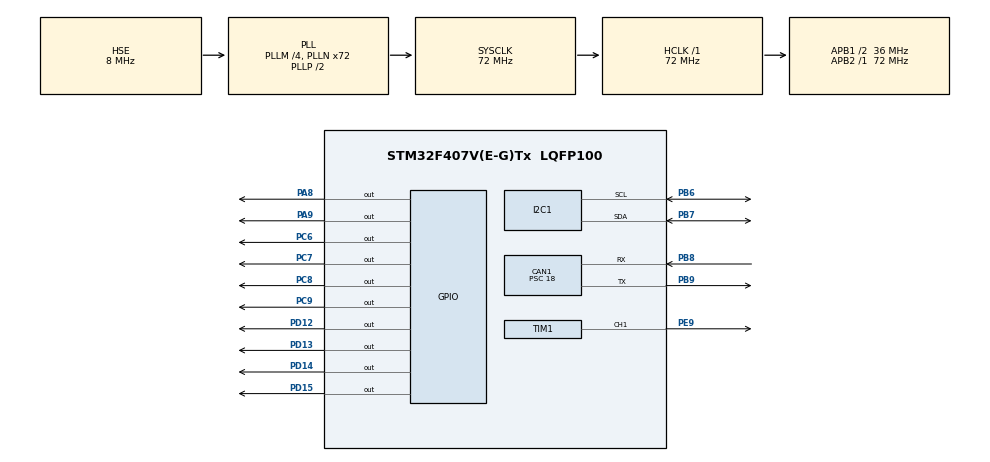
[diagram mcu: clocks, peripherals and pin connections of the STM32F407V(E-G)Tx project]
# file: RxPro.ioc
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CAN1.BS1=CAN_BS1_2TQ
CAN1.CalculateBaudRate=500000
CAN1.CalculateTimeBit=2000
CAN1.CalculateTimeQuantum=500.0
CAN1.Prescaler=18
Mcu.Family=STM32F4
Mcu.Name=STM32F407V(E-G)Tx
Mcu.Package=LQFP100
NVIC.CAN1_RX0_IRQn=true\:0\:0\:false\:false\:true\:true\:true\:true
NVIC.PriorityGroup=NVIC_PRIORITYGROUP_0
PA8.Signal=GPIO_Output
PA9.Signal=GPIO_Output
PB6.Mode=I2C
PB6.Signal=I2C1_SCL
PB7.Mode=I2C
PB7.Signal=I2C1_SDA
PB8.Mode=CAN_Activate
PB8.Signal=CAN1_RX
PB9.Mode=CAN_Activate
PB9.Signal=CAN1_TX
PC6.Signal=GPIO_Output
PC7.Signal=GPIO_Output
PC8.Signal=GPIO_Output
PC9.Signal=GPIO_Output
PD12.Signal=GPIO_Output
PD13.Signal=GPIO_Output
PD14.Signal=GPIO_Output
PD15.Signal=GPIO_Output
PE9.Signal=S_TIM1_CH1
PH0-OSC_IN.Mode=HSE-External-Oscillator
PH0-OSC_IN.Signal=RCC_OSC_IN
PH1-OSC_OUT.Mode=HSE-External-Oscillator
PH1-OSC_OUT.Signal=RCC_OSC_OUT
ProjectManager.HeapSize=0x200
ProjectManager.StackSize=0x400
ProjectManager.TargetToolchain=STM32CubeIDE
RCC.48MHZClocksFreq_Value=20571428.57142857
RCC.AHBFreq_Value=72000000
RCC.APB1CLKDivider=RCC_HCLK_DIV2
RCC.APB1Freq_Value=36000000
RCC.APB1TimFreq_Value=72000000
RCC.APB2Freq_Value=72000000
RCC.APB2TimFreq_Value=72000000
RCC.CortexFreq_Value=72000000
RCC.HCLKFreq_Value=72000000
RCC.HSE_VALUE=8000000
RCC.HSI_VALUE=16000000
RCC.LSE_VALUE=32768
RCC.PLLM=4
RCC.PLLN=72
RCC.PLLQ=7
RCC.PLLSourceVirtual=RCC_PLLSOURCE_HSE
RCC.SYSCLKFreq_VALUE=72000000
RCC.SYSCLKSource=RCC_SYSCLKSOURCE_PLLCLK
RCC.VCOOutputFreq_Value=144000000
SH.S_TIM1_CH1.0=TIM1_CH1,PWM Generation1 CH1
TIM1.Channel-PWM\ Generation1\ CH1=TIM_CHANNEL_1
TIM1.Prescaler=72-1
board=STM32F407G-DISC1

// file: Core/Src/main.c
/* USER CODE BEGIN Header */
/**
  ******************************************************************************
  * @file           : main.c
  * @brief          : Main program body
  ******************************************************************************
  * @attention
  *
  * Copyright (c) 2024 STMicroelectronics.
  * All rights reserved.
  *
  * This software is licensed under terms that can be found in the LICENSE file
  * in the root directory of this software component.
  * If no LICENSE file comes with this software, it is provided AS-IS.
  *
  ******************************************************************************
  */
/* USER CODE END Header */
#include "main.h"

/* USER CODE BEGIN Includes */
#include<stdio.h>
#include "i2c-lcd.h"
/* USER CODE END Includes */

CAN_HandleTypeDef hcan1;

I2C_HandleTypeDef hi2c1;

TIM_HandleTypeDef htim1;

void SystemClock_Config(void);
static void MX_GPIO_Init(void);
static void MX_CAN1_Init(void);
static void MX_I2C1_Init(void);
static void MX_TIM1_Init(void);

/* USER CODE BEGIN 0 */
CAN_RxHeaderTypeDef RxHeader;
uint8_t RxData[5];
char str[20];

void HAL_CAN_RxFifo0MsgPendingCallback(CAN_HandleTypeDef *hcan){

	HAL_GPIO_WritePin(GPIOD, GPIO_PIN_15, GPIO_PIN_SET); // blue
	HAL_CAN_GetRxMessage(&hcan1, CAN_RX_FIFO0, &RxHeader, RxData);
}
/* USER CODE END 0 */

int main(void)
{

  /* MCU Configuration--------------------------------------------------------*/

  /* Reset of all peripherals, Initializes the Flash interface and the Systick. */
  HAL_Init();

  /* Configure the system clock */
  SystemClock_Config();

  /* Initialize all configured peripherals */
  MX_GPIO_Init();
  MX_CAN1_Init();
  MX_I2C1_Init();
  MX_TIM1_Init();
  /* USER CODE BEGIN 2 */
  HAL_CAN_Start(&hcan1);
  HAL_CAN_ActivateNotification(&hcan1, CAN_IT_RX_FIFO0_MSG_PENDING);
  HAL_Delay(100);
  HAL_Delay(100);

  lcd_init();
  lcd_clear();
  //HAL_TIM_PWM_Start(&htim1, TIM_CHANNEL_1);
  HAL_GPIO_WritePin(GPIOC, GPIO_PIN_6, GPIO_PIN_RESET);   //M1
  HAL_GPIO_WritePin(GPIOC, GPIO_PIN_7, GPIO_PIN_RESET);   //M1
  HAL_GPIO_WritePin(GPIOC, GPIO_PIN_8, GPIO_PIN_RESET);  //M2
  HAL_GPIO_WritePin(GPIOC, GPIO_PIN_9, GPIO_PIN_RESET);  //M2
  HAL_GPIO_WritePin(GPIOA, GPIO_PIN_8, GPIO_PIN_RESET);  //LED
  HAL_GPIO_WritePin(GPIOA, GPIO_PIN_9, GPIO_PIN_RESET);  //Buzzer
  /* USER CODE END 2 */

  /* Infinite loop */
  /* USER CODE BEGIN WHILE */
  while (1)
  {
	  lcd_clear();
  	  /*sprintf(str, "Temp:%d",RxData[1]);
  	  lcd_send_cmd(0x80|0x00);
  	  lcd_send_string(str);*/

  	  sprintf(str, "Dist:%d",RxData[2]);
  	  lcd_send_cmd(0x80|0x40);
  	  lcd_send_string(str);

  	  if(RxData[2] < 10){
  		  HAL_GPIO_WritePin(GPIOC, GPIO_PIN_8, GPIO_PIN_RESET);
  		  HAL_GPIO_WritePin(GPIOC, GPIO_PIN_9, GPIO_PIN_RESET);
  		  HAL_GPIO_WritePin(GPIOC, GPIO_PIN_6, GPIO_PIN_RESET);
  		  HAL_GPIO_WritePin(GPIOC, GPIO_PIN_7, GPIO_PIN_RESET);
  		  HAL_GPIO_WritePin(GPIOA, GPIO_PIN_8, GPIO_PIN_SET);
  		  HAL_GPIO_WritePin(GPIOA, GPIO_PIN_9, GPIO_PIN_SET);
  	  	  sprintf(str, "ZONE 3");
  	  	  lcd_send_cmd(0x80|0x00);
  	  	  lcd_send_string(str);
  		  sprintf(str, "Dist:%d",RxData[2]);
  	  	  lcd_send_cmd(0x80|0x40);
  	  	  lcd_send_string(str);
  	  }

  	  if(RxData[2] > 10 && RxData[2] < 30){
  		  HAL_GPIO_WritePin(GPIOC, GPIO_PIN_6, GPIO_PIN_SET);
  		  HAL_GPIO_WritePin(GPIOC, GPIO_PIN_7, GPIO_PIN_RESET);
  		  HAL_GPIO_WritePin(GPIOC, GPIO_PIN_8, GPIO_PIN_SET);
  		  HAL_GPIO_WritePin(GPIOC, GPIO_PIN_9, GPIO_PIN_RESET);
  		  HAL_GPIO_WritePin(GPIOA, GPIO_PIN_8, GPIO_PIN_SET);
  		  HAL_GPIO_WritePin(GPIOA, GPIO_PIN_9, GPIO_PIN_RESET);
  	  	  sprintf(str, "ZONE 2");
  	  	  lcd_send_cmd(0x80|0x00);
  	  	  lcd_send_string(str);
  		  sprintf(str, "Dist:%d",RxData[2]);
  	  	  lcd_send_cmd(0x80|0x40);
  	  	  lcd_send_string(str);
  	  }

  	  if(RxData[2] > 30){
  		  HAL_GPIO_WritePin(GPIOC, GPIO_PIN_6, GPIO_PIN_SET);
  		  HAL_GPIO_WritePin(GPIOC, GPIO_PIN_7, GPIO_PIN_RESET);
  		  HAL_GPIO_WritePin(GPIOC, GPIO_PIN_8, GPIO_PIN_SET);
  		  HAL_GPIO_WritePin(GPIOC, GPIO_PIN_9, GPIO_PIN_RESET);
  		  HAL_GPIO_WritePin(GPIOA, GPIO_PIN_8, GPIO_PIN_RESET);
  		  HAL_GPIO_WritePin(GPIOA, GPIO_PIN_9, GPIO_PIN_RESET);
  	  	  sprintf(str, "ZONE 1");
  	  	  lcd_send_cmd(0x80|0x00);
  	  	  lcd_send_string(str);
  		  sprintf(str, "Dist:%d",RxData[2]);
  	  	  lcd_send_cmd(0x80|0x40);
  	  	  lcd_send_string(str);
  	  }

  		if(RxData[0] == 1){
  			HAL_GPIO_WritePin(GPIOD, GPIO_PIN_14, GPIO_PIN_SET); //
  		}
  		if(RxData[0] == 0){
  			HAL_GPIO_WritePin(GPIOD, GPIO_PIN_14, GPIO_PIN_RESET); //

  		}

    /* USER CODE END WHILE */

  }
}

void SystemClock_Config(void)
{
  RCC_OscInitTypeDef RCC_OscInitStruct = {0};
  RCC_ClkInitTypeDef RCC_ClkInitStruct = {0};

  /** Configure the main internal regulator output voltage
  */
  __HAL_RCC_PWR_CLK_ENABLE();
  __HAL_PWR_VOLTAGESCALING_CONFIG(PWR_REGULATOR_VOLTAGE_SCALE1);

  /** Initializes the RCC Oscillators according to the specified parameters
  * in the RCC_OscInitTypeDef structure.
  */
  RCC_OscInitStruct.OscillatorType = RCC_OSCILLATORTYPE_HSE;
  RCC_OscInitStruct.HSEState = RCC_HSE_ON;
  RCC_OscInitStruct.PLL.PLLState = RCC_PLL_ON;
  RCC_OscInitStruct.PLL.PLLSource = RCC_PLLSOURCE_HSE;
  RCC_OscInitStruct.PLL.PLLM = 4;
  RCC_OscInitStruct.PLL.PLLN = 72;
  RCC_OscInitStruct.PLL.PLLP = RCC_PLLP_DIV2;
  RCC_OscInitStruct.PLL.PLLQ = 7;
  if (HAL_RCC_OscConfig(&RCC_OscInitStruct) != HAL_OK)
  {
    Error_Handler();
  }

  /** Initializes the CPU, AHB and APB buses clocks
  */
  RCC_ClkInitStruct.ClockType = RCC_CLOCKTYPE_HCLK|RCC_CLOCKTYPE_SYSCLK
                              |RCC_CLOCKTYPE_PCLK1|RCC_CLOCKTYPE_PCLK2;
  RCC_ClkInitStruct.SYSCLKSource = RCC_SYSCLKSOURCE_PLLCLK;
  RCC_ClkInitStruct.AHBCLKDivider = RCC_SYSCLK_DIV1;
  RCC_ClkInitStruct.APB1CLKDivider = RCC_HCLK_DIV2;
  RCC_ClkInitStruct.APB2CLKDivider = RCC_HCLK_DIV1;

  if (HAL_RCC_ClockConfig(&RCC_ClkInitStruct, FLASH_LATENCY_2) != HAL_OK)
  {
    Error_Handler();
  }
}

static void MX_CAN1_Init(void)
{

  hcan1.Instance = CAN1;
  hcan1.Init.Prescaler = 18;
  hcan1.Init.Mode = CAN_MODE_NORMAL;
  hcan1.Init.SyncJumpWidth = CAN_SJW_1TQ;
  hcan1.Init.TimeSeg1 = CAN_BS1_2TQ;
  hcan1.Init.TimeSeg2 = CAN_BS2_1TQ;
  hcan1.Init.TimeTriggeredMode = DISABLE;
  hcan1.Init.AutoBusOff = DISABLE;
  hcan1.Init.AutoWakeUp = DISABLE;
  hcan1.Init.AutoRetransmission = DISABLE;
  hcan1.Init.ReceiveFifoLocked = DISABLE;
  hcan1.Init.TransmitFifoPriority = DISABLE;
  if (HAL_CAN_Init(&hcan1) != HAL_OK)
  {
    Error_Handler();
  }
  /* USER CODE BEGIN CAN1_Init 2 */
  CAN_FilterTypeDef canFilterConfig;
  canFilterConfig.FilterActivation=CAN_FILTER_ENABLE;
  canFilterConfig.SlaveStartFilterBank=14;
  canFilterConfig.FilterBank=2;
  canFilterConfig.FilterFIFOAssignment=CAN_RX_FIFO0;
  canFilterConfig.FilterScale=CAN_FILTERSCALE_32BIT;
  canFilterConfig.FilterMode=CAN_FILTERMODE_IDMASK;
  canFilterConfig.FilterMaskIdLow=0x0000;
  canFilterConfig.FilterMaskIdHigh=0xFF00;
  canFilterConfig.FilterIdLow=0x0000;
  canFilterConfig.FilterIdHigh=0x1500;
  HAL_CAN_ConfigFilter(&hcan1, &canFilterConfig);
  /* USER CODE END CAN1_Init 2 */

}

static void MX_I2C1_Init(void)
{

  hi2c1.Instance = I2C1;
  hi2c1.Init.ClockSpeed = 100000;
  hi2c1.Init.DutyCycle = I2C_DUTYCYCLE_2;
  hi2c1.Init.OwnAddress1 = 0;
  hi2c1.Init.AddressingMode = I2C_ADDRESSINGMODE_7BIT;
  hi2c1.Init.DualAddressMode = I2C_DUALADDRESS_DISABLE;
  hi2c1.Init.OwnAddress2 = 0;
  hi2c1.Init.GeneralCallMode = I2C_GENERALCALL_DISABLE;
  hi2c1.Init.NoStretchMode = I2C_NOSTRETCH_DISABLE;
  if (HAL_I2C_Init(&hi2c1) != HAL_OK)
  {
    Error_Handler();
  }

}

static void MX_TIM1_Init(void)
{

  TIM_MasterConfigTypeDef sMasterConfig = {0};
  TIM_OC_InitTypeDef sConfigOC = {0};
  TIM_BreakDeadTimeConfigTypeDef sBreakDeadTimeConfig = {0};

  htim1.Instance = TIM1;
  htim1.Init.Prescaler = 72-1;
  htim1.Init.CounterMode = TIM_COUNTERMODE_UP;
  htim1.Init.Period = 65535;
  htim1.Init.ClockDivision = TIM_CLOCKDIVISION_DIV1;
  htim1.Init.RepetitionCounter = 0;
  htim1.Init.AutoReloadPreload = TIM_AUTORELOAD_PRELOAD_DISABLE;
  if (HAL_TIM_PWM_Init(&htim1) != HAL_OK)
  {
    Error_Handler();
  }
  sMasterConfig.MasterOutputTrigger = TIM_TRGO_RESET;
  sMasterConfig.MasterSlaveMode = TIM_MASTERSLAVEMODE_DISABLE;
  if (HAL_TIMEx_MasterConfigSynchronization(&htim1, &sMasterConfig) != HAL_OK)
  {
    Error_Handler();
  }
  sConfigOC.OCMode = TIM_OCMODE_PWM1;
  sConfigOC.Pulse = 0;
  sConfigOC.OCPolarity = TIM_OCPOLARITY_HIGH;
  sConfigOC.OCNPolarity = TIM_OCNPOLARITY_HIGH;
  sConfigOC.OCFastMode = TIM_OCFAST_DISABLE;
  sConfigOC.OCIdleState = TIM_OCIDLESTATE_RESET;
  sConfigOC.OCNIdleState = TIM_OCNIDLESTATE_RESET;
  if (HAL_TIM_PWM_ConfigChannel(&htim1, &sConfigOC, TIM_CHANNEL_1) != HAL_OK)
  {
    Error_Handler();
  }
  sBreakDeadTimeConfig.OffStateRunMode = TIM_OSSR_DISABLE;
  sBreakDeadTimeConfig.OffStateIDLEMode = TIM_OSSI_DISABLE;
  sBreakDeadTimeConfig.LockLevel = TIM_LOCKLEVEL_OFF;
  sBreakDeadTimeConfig.DeadTime = 0;
  sBreakDeadTimeConfig.BreakState = TIM_BREAK_DISABLE;
  sBreakDeadTimeConfig.BreakPolarity = TIM_BREAKPOLARITY_HIGH;
  sBreakDeadTimeConfig.AutomaticOutput = TIM_AUTOMATICOUTPUT_DISABLE;
  if (HAL_TIMEx_ConfigBreakDeadTime(&htim1, &sBreakDeadTimeConfig) != HAL_OK)
  {
    Error_Handler();
  }
  HAL_TIM_MspPostInit(&htim1);

}

static void MX_GPIO_Init(void)
{
  GPIO_InitTypeDef GPIO_InitStruct = {0};

  /* GPIO Ports Clock Enable */
  __HAL_RCC_GPIOH_CLK_ENABLE();
  __HAL_RCC_GPIOE_CLK_ENABLE();
  __HAL_RCC_GPIOD_CLK_ENABLE();
  __HAL_RCC_GPIOC_CLK_ENABLE();
  __HAL_RCC_GPIOA_CLK_ENABLE();
  __HAL_RCC_GPIOB_CLK_ENABLE();

  /*Configure GPIO pin Output Level */
  HAL_GPIO_WritePin(GPIOD, GPIO_PIN_12|GPIO_PIN_13|GPIO_PIN_14|GPIO_PIN_15, GPIO_PIN_RESET);

  /*Configure GPIO pin Output Level */
  HAL_GPIO_WritePin(GPIOC, GPIO_PIN_6|GPIO_PIN_7|GPIO_PIN_8|GPIO_PIN_9, GPIO_PIN_RESET);

  /*Configure GPIO pin Output Level */
  HAL_GPIO_WritePin(GPIOA, GPIO_PIN_8|GPIO_PIN_9, GPIO_PIN_RESET);

  /*Configure GPIO pins : PD12 PD13 PD14 PD15 */
  GPIO_InitStruct.Pin = GPIO_PIN_12|GPIO_PIN_13|GPIO_PIN_14|GPIO_PIN_15;
  GPIO_InitStruct.Mode = GPIO_MODE_OUTPUT_PP;
  GPIO_InitStruct.Pull = GPIO_NOPULL;
  GPIO_InitStruct.Speed = GPIO_SPEED_FREQ_LOW;
  HAL_GPIO_Init(GPIOD, &GPIO_InitStruct);

  /*Configure GPIO pins : PC6 PC7 PC8 PC9 */
  GPIO_InitStruct.Pin = GPIO_PIN_6|GPIO_PIN_7|GPIO_PIN_8|GPIO_PIN_9;
  GPIO_InitStruct.Mode = GPIO_MODE_OUTPUT_PP;
  GPIO_InitStruct.Pull = GPIO_NOPULL;
  GPIO_InitStruct.Speed = GPIO_SPEED_FREQ_LOW;
  HAL_GPIO_Init(GPIOC, &GPIO_InitStruct);

  /*Configure GPIO pins : PA8 PA9 */
  GPIO_InitStruct.Pin = GPIO_PIN_8|GPIO_PIN_9;
  GPIO_InitStruct.Mode = GPIO_MODE_OUTPUT_PP;
  GPIO_InitStruct.Pull = GPIO_NOPULL;
  GPIO_InitStruct.Speed = GPIO_SPEED_FREQ_LOW;
  HAL_GPIO_Init(GPIOA, &GPIO_InitStruct);

}

void Error_Handler(void)
{
  __disable_irq();
  while (1)
  {
  }
}
